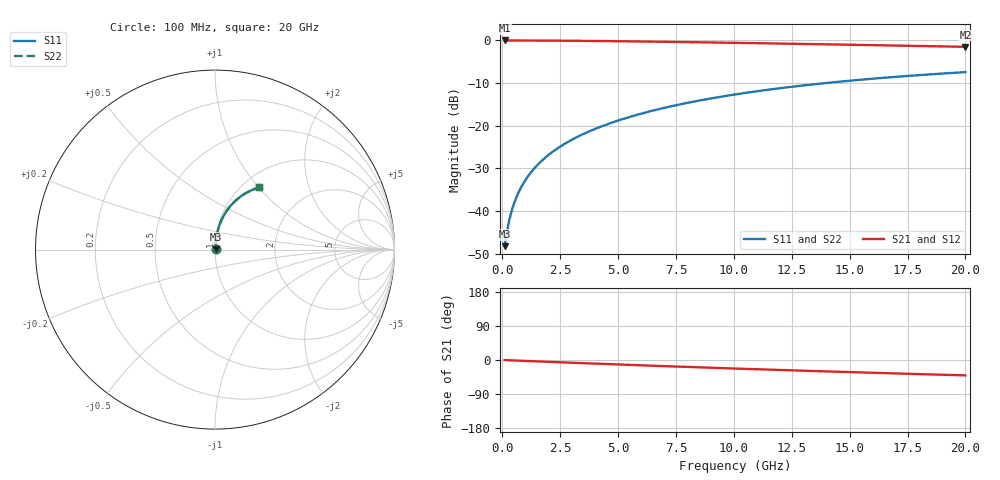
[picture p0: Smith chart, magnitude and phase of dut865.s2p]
! Touchstone file exported from HFSS 2024.1.0
!  File:  C:/UserFiles/LocalFiles/RDL_TSV_Batchsim/temp_RDL_top_865_1779856217.aedt
!  Generated:  12:32:33 PM May 27, 2026
!  Design:  RDL_top
!  Project:  temp_RDL_top_865_1779856217
!  Setup:  Setup1
!  Solution:  Sweep
! Variables:
!  dtsv = 10.80580581um
!  hbump = 3um
!  htsv = 80.46um
!  ldown = 100um
!  lrdl = 511.66um
!  p = 40
!  p1 = 58.96um
!  rhole = 1um
!  t = 450um
!  tdown = 3.915915916um
!  trdl = 3.3um
!  wdown = 15.38538539um
!  wrdl = 19.1um
# GHz S MA R 50.000000
! Terminal data exported
! Port[1] = Box2_T1
! Port[2] = Box2_T2
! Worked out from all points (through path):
!   200 points, 100 MHz to 20 GHz, reference 50 ohm
!   highest |S21| = -0.03 dB at 100 MHz (marker M1); lowest = -1.5 dB at 20 GHz (marker M2)
!   group delay of S21, straight-line fit = 5.61 ps
!   lowest |S11| = -48.2 dB at 100 MHz (marker M3), VSWR 1.01, Z = 50.3 + j0.242 ohm
!   |S11| at or under -10 dB: start of sweep to 13.97 GHz
!   |S22| runs from -48.2 to -7.4 dB; largest |S21 - S12| = 2.6e-15
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0.1  0.003886 38.2  0.9969 -0.3  0.9969 -0.3  0.003886 38.2
! Gamma 0 0 0 0
! Port Impedance 50 0 50 0
0.2  0.005718 56.5  0.9968 -0.5  0.9968 -0.5  0.005718 56.5
0.3  0.007807 65.1  0.9967 -0.7  0.9967 -0.7  0.007807 65.1
0.4  0.00996 69.9  0.9965 -1.0  0.9965 -1.0  0.00996 69.9
0.5  0.01213 73.0  0.9964 -1.2  0.9964 -1.2  0.01213 73.0
0.6  0.01432 75.2  0.9962 -1.5  0.9962 -1.5  0.01432 75.2
0.8  0.01871 78.0  0.9959 -2.0  0.9959 -2.0  0.01871 78.0
1.1  0.02536 80.4  0.9953 -2.7  0.9953 -2.7  0.02536 80.4
1.5  0.03431 82.0  0.9944 -3.6  0.9944 -3.6  0.03431 82.0
1.8  0.04107 82.6  0.9935 -4.4  0.9935 -4.4  0.04107 82.6
2.1  0.04787 82.9  0.9925 -5.1  0.9925 -5.1  0.04787 82.9
2.7  0.06156 83.0  0.9902 -6.5  0.9902 -6.5  0.06156 83.0
3.5  0.08 82.7  0.9863 -8.4  0.9863 -8.4  0.08 82.7
4.2  0.09628 82.0  0.9823 -10.0  0.9823 -10.0  0.09628 82.0
5  0.115 81.1  0.9772 -11.8  0.9772 -11.8  0.115 81.1
5.9  0.1362 79.8  0.9707 -13.8  0.9707 -13.8  0.1362 79.8
6.8  0.1574 78.4  0.9637 -15.8  0.9637 -15.8  0.1574 78.4
8.4  0.1947 75.6  0.9504 -19.2  0.9504 -19.2  0.1947 75.6
10.1  0.2336 72.5  0.9352 -22.6  0.9352 -22.6  0.2336 72.5
13.4  0.3046 66.4  0.904 -29.0  0.904 -29.0  0.3046 66.4
16.7  0.3685 60.4  0.8718 -35.0  0.8718 -35.0  0.3685 60.4
20  0.4245 54.8  0.8394 -40.6  0.8394 -40.6  0.4245 54.8
